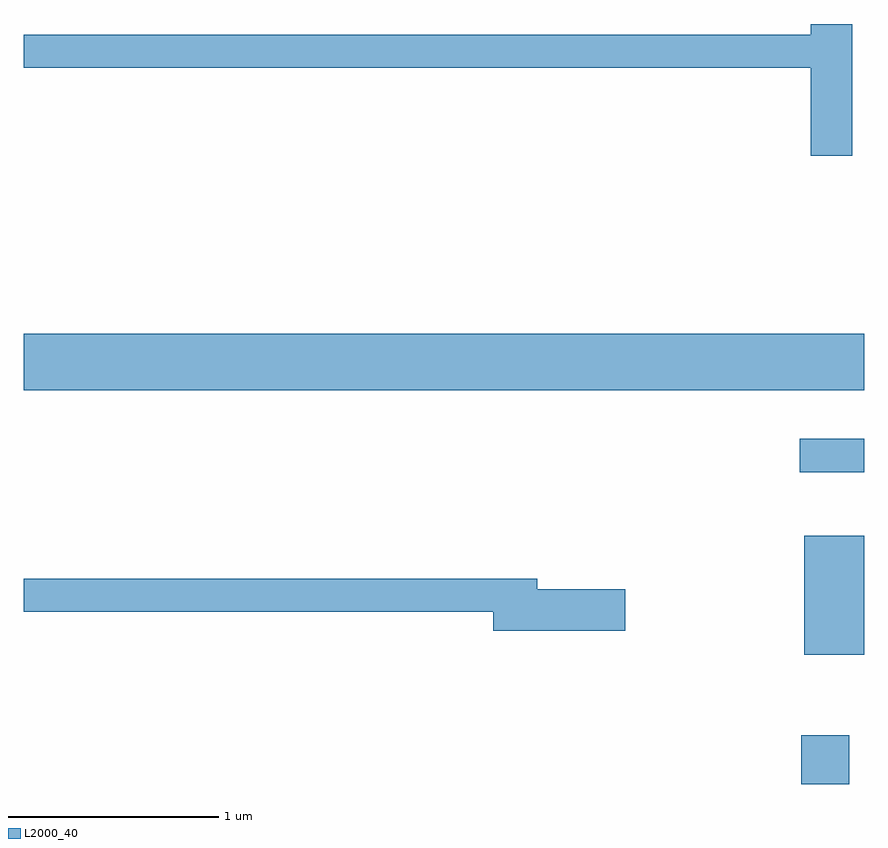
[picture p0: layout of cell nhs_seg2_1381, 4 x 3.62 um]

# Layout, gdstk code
import gdstk
lib = gdstk.Library(unit=1e-6, precision=1e-09)
def R(c, l, rs):  # rectangles x0, y0, x1, y1
    for r in rs: c.add(gdstk.rectangle(r[:2], r[2:], *l))
def P(c, l, *ps):  # polygons
    for p in ps: c.add(gdstk.Polygon(p, *l))
L2000_40 = (2000, 40)

nhs_seg2_1381 = lib.new_cell('nhs_seg2_1381')
R(nhs_seg2_1381, L2000_40, [(229.311,1019.802,229.539,1020.034), (229.326,1020.416,229.611,1020.984), (229.303,1021.286,229.611,1021.444), (225.611,1021.676,229.611,1021.944)])
P(nhs_seg2_1381, L2000_40, [(229.554,1023.419),(229.356,1023.419),(229.356,1023.369),(225.611,1023.369),(225.611,1023.211),(229.356,1023.211),(229.356,1022.791),(229.554,1022.791)],
  [(228.474,1020.729),(228.054,1020.729),(228.054,1020.779),(225.611,1020.779),(225.611,1020.621),(227.846,1020.621),(227.846,1020.531),(228.474,1020.531)])

lib.write_gds('nhs_seg2_1381.gds')
